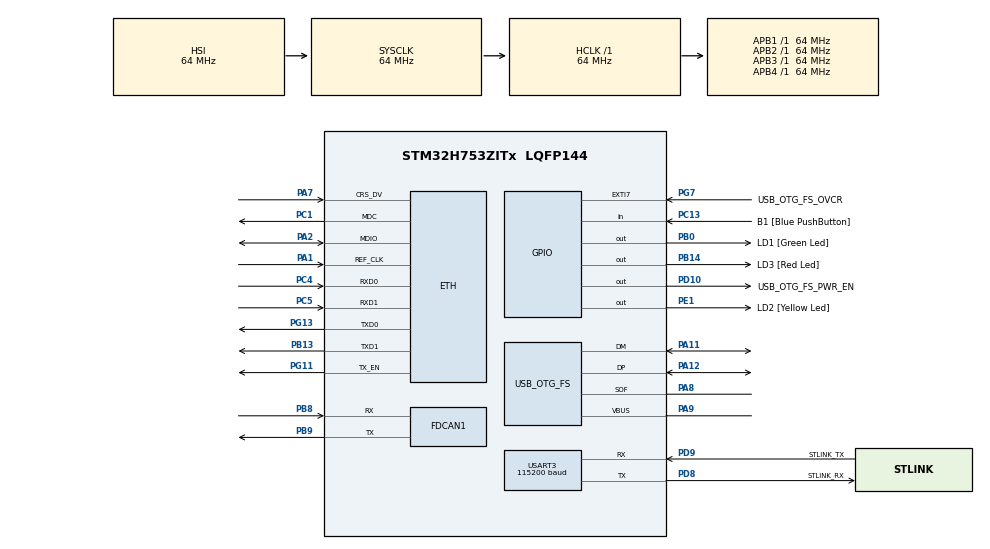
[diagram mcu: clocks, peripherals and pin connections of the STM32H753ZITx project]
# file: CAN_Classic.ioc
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CORTEX_M7.CPU_DCache=Disabled
CORTEX_M7.CPU_ICache=Disabled
CORTEX_M7.MPU_Control=__NULL
ETH.ETH_RX_DESC_CNT=4
ETH.ETH_TX_DESC_CNT=4
ETH.MACAddr=00\:80\:E1\:00\:00\:00
ETH.MediaInterface=HAL_ETH_RMII_MODE
ETH.RxBuffAddress=0x30040200
ETH.RxBuffLen=1524
ETH.RxDescAddress=0x30040000
ETH.TxDescAddress=0x30040060
FDCAN1.AutoRetransmission=ENABLE
FDCAN1.DataPrescaler=5
FDCAN1.DataSyncJumpWidth=12
FDCAN1.DataTimeSeg1=4
FDCAN1.DataTimeSeg2=5
FDCAN1.FrameFormat=FDCAN_FRAME_FD_BRS
FDCAN1.NominalPrescaler=5
FDCAN1.NominalSyncJumpWidth=13
FDCAN1.NominalTimeSeg1=13
FDCAN1.NominalTimeSeg2=6
FDCAN1.ProtocolException=DISABLE
FDCAN1.RxBuffersNbr=1
FDCAN1.RxFifo0ElmtsNbr=0
FDCAN1.StdFiltersNbr=1
FDCAN1.TxBuffersNbr=1
FDCAN1.TxFifoQueueElmtsNbr=0
Mcu.Family=STM32H7
Mcu.Name=STM32H753ZITx
Mcu.Package=LQFP144
NVIC.FDCAN1_IT0_IRQn=true\:0\:0\:false\:false\:true\:true\:true
NVIC.FDCAN1_IT1_IRQn=true\:0\:0\:false\:false\:true\:true\:true
NVIC.FDCAN_CAL_IRQn=true\:0\:0\:false\:false\:true\:true\:true
NVIC.PriorityGroup=NVIC_PRIORITYGROUP_4
PA1.Mode=RMII
PA1.Signal=ETH_REF_CLK
PA11.Mode=Device_Only
PA11.Signal=USB_OTG_FS_DM
PA12.Mode=Device_Only
PA12.Signal=USB_OTG_FS_DP
PA2.Mode=RMII
PA2.Signal=ETH_MDIO
PA7.Mode=RMII
PA7.Signal=ETH_CRS_DV
PA8.Mode=Activate_SOF_FS
PA8.Signal=USB_OTG_FS_SOF
PA9.Mode=Activate_VBUS
PA9.Signal=USB_OTG_FS_VBUS
PB0.GPIO_Label=LD1 [Green Led]
PB0.Signal=GPIO_Output
PB13.Mode=RMII
PB13.Signal=ETH_TXD1
PB14.GPIO_Label=LD3 [Red Led]
PB14.Signal=GPIO_Output
PB8.Mode=FDCAN_Activate
PB8.Signal=FDCAN1_RX
PB9.Mode=FDCAN_Activate
PB9.Signal=FDCAN1_TX
PC1.Mode=RMII
PC1.Signal=ETH_MDC
PC13.GPIO_Label=B1 [Blue PushButton]
PC13.Signal=GPIO_Input
PC14-OSC32_IN\ (OSC32_IN).Mode=LSE-External-Oscillator
PC14-OSC32_IN\ (OSC32_IN).Signal=RCC_OSC32_IN
PC15-OSC32_OUT\ (OSC32_OUT).Mode=LSE-External-Oscillator
PC15-OSC32_OUT\ (OSC32_OUT).Signal=RCC_OSC32_OUT
PC4.Mode=RMII
PC4.Signal=ETH_RXD0
PC5.Mode=RMII
PC5.Signal=ETH_RXD1
PD10.GPIO_Label=USB_OTG_FS_PWR_EN
PD10.Signal=GPIO_Output
PD8.GPIO_Label=STLINK_RX
PD8.Mode=Asynchronous
PD8.Signal=USART3_TX
PD9.GPIO_Label=STLINK_TX
PD9.Mode=Asynchronous
PD9.Signal=USART3_RX
PE1.GPIO_Label=LD2 [Yellow Led]
PE1.Signal=GPIO_Output
PG11.Mode=RMII
PG11.Signal=ETH_TX_EN
PG13.Mode=RMII
PG13.Signal=ETH_TXD0
PG7.GPIO_Label=USB_OTG_FS_OVCR
PG7.Signal=GPXTI7
PH0-OSC_IN\ (PH0).Mode=HSE-External-Clock-Source
PH0-OSC_IN\ (PH0).Signal=RCC_OSC_IN
PH1-OSC_OUT\ (PH1).Signal=RCC_OSC_OUT
ProjectManager.HeapSize=0x200
ProjectManager.StackSize=0x400
ProjectManager.TargetToolchain=STM32CubeIDE
RCC.ADCFreq_Value=16125000
RCC.APB1Freq_Value=64000000
RCC.APB2Freq_Value=64000000
RCC.APB3Freq_Value=64000000
RCC.APB4Freq_Value=64000000
RCC.CortexFreq_Value=64000000
RCC.DIVM1=1
RCC.DIVN1=18
RCC.DIVQ1=3
RCC.HCLKFreq_Value=64000000
RCC.HSE_VALUE=8000000
RCC.PLLFRACN=6144
RCC.PWR_Regulator_Voltage_Scale=PWR_REGULATOR_VOLTAGE_SCALE2
RCC.SYSCLKFreq_VALUE=64000000
RCC.USBFreq_Value=50000000
USART3.AutoBaudRateEnableParam=UART_ADVFEATURE_AUTOBAUDRATE_DISABLE
USART3.BaudRate=115200
USART3.ClockPrescaler=PRESCALER_DIV1
USART3.DMADisableonRxErrorParam=ADVFEATURE_DMA_ENABLEONRXERROR
USART3.DataInvertParam=ADVFEATURE_DATAINV_DISABLE
USART3.FIFOMode=FIFOMODE_DISABLE
USART3.MSBFirstParam=ADVFEATURE_MSBFIRST_DISABLE
USART3.Mode=MODE_TX_RX
USART3.OneBitSampling=UART_ONE_BIT_SAMPLE_DISABLE
USART3.OverSampling=UART_OVERSAMPLING_16
USART3.OverrunDisableParam=ADVFEATURE_OVERRUN_ENABLE
USART3.Parity=PARITY_NONE
USART3.RXFIFOThreshold=RXFIFO_THRESHOLD_1EIGHTHFULL
USART3.RxPinLevelInvertParam=ADVFEATURE_RXINV_DISABLE
USART3.StopBits=STOPBITS_1
USART3.SwapParam=ADVFEATURE_SWAP_DISABLE
USART3.TXFIFOThreshold=TXFIFO_THRESHOLD_1EIGHTHFULL
USART3.TxPinLevelInvertParam=ADVFEATURE_TXINV_DISABLE
USART3.VirtualMode-Asynchronous=VM_ASYNC
USART3.WordLength=WORDLENGTH_8B
USB_OTG_FS.Sof_enable=ENABLE
USB_OTG_FS.VirtualMode=Device_Only
USB_OTG_FS.battery_charging_enable=ENABLE
USB_OTG_FS.low_power_enable=DISABLE
USB_OTG_FS.lpm_enable=DISABLE
USB_OTG_FS.use_dedicated_ep1=DISABLE
USB_OTG_FS.vbus_sensing_enable=ENABLE
board=NUCLEO-H753ZI

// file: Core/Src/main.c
/* USER CODE BEGIN Header */
/**
 ******************************************************************************
 * @file           : main.c
 * @brief          : Main program body
 ******************************************************************************
 * @attention
 *
 * <h2><center>&copy; Copyright (c) 2024 STMicroelectronics.
 * All rights reserved.</center></h2>
 *
 * This software component is licensed by ST under BSD 3-Clause license,
 * the "License"; You may not use this file except in compliance with the
 * License. You may obtain a copy of the License at:
 *                        opensource.org/licenses/BSD-3-Clause
 *
 ******************************************************************************
 */
/* USER CODE END Header */
#include "main.h"
#include "string.h"

#if defined ( __ICCARM__ ) /*!< IAR Compiler */

#pragma location=0x30040000
ETH_DMADescTypeDef  DMARxDscrTab[ETH_RX_DESC_CNT]; /* Ethernet Rx DMA Descriptors */
#pragma location=0x30040060
ETH_DMADescTypeDef  DMATxDscrTab[ETH_TX_DESC_CNT]; /* Ethernet Tx DMA Descriptors */
#pragma location=0x30040200
uint8_t Rx_Buff[ETH_RX_DESC_CNT][ETH_MAX_PACKET_SIZE]; /* Ethernet Receive Buffers */

#elif defined ( __CC_ARM )  /* MDK ARM Compiler */

__attribute__((at(0x30040000))) ETH_DMADescTypeDef  DMARxDscrTab[ETH_RX_DESC_CNT]; /* Ethernet Rx DMA Descriptors */
__attribute__((at(0x30040060))) ETH_DMADescTypeDef  DMATxDscrTab[ETH_TX_DESC_CNT]; /* Ethernet Tx DMA Descriptors */
__attribute__((at(0x30040200))) uint8_t Rx_Buff[ETH_RX_DESC_CNT][ETH_MAX_PACKET_SIZE]; /* Ethernet Receive Buffer */

#elif defined ( __GNUC__ ) /* GNU Compiler */

ETH_DMADescTypeDef DMARxDscrTab[ETH_RX_DESC_CNT] __attribute__((section(".RxDecripSection"))); /* Ethernet Rx DMA Descriptors */
ETH_DMADescTypeDef DMATxDscrTab[ETH_TX_DESC_CNT] __attribute__((section(".TxDecripSection"))); /* Ethernet Tx DMA Descriptors */
uint8_t Rx_Buff[ETH_RX_DESC_CNT][ETH_MAX_PACKET_SIZE] __attribute__((section(".RxArraySection"))); /* Ethernet Receive Buffers */

#endif

ETH_TxPacketConfig TxConfig;

ETH_HandleTypeDef heth;

FDCAN_HandleTypeDef hfdcan1;

UART_HandleTypeDef huart3;

PCD_HandleTypeDef hpcd_USB_OTG_FS;

void SystemClock_Config(void);
static void MX_GPIO_Init(void);
static void MX_ETH_Init(void);
static void MX_FDCAN1_Init(void);
static void MX_USART3_UART_Init(void);
static void MX_USB_OTG_FS_PCD_Init(void);
/* USER CODE BEGIN PFP */
#define HSEM_ID_0 (0U) /* HW semaphore 0*/

#define KEY_PRESSED     0x01
#define KEY_NOT_PRESSED 0x00
/* USER CODE END PFP */

/* USER CODE BEGIN 0 */
FDCAN_RxHeaderTypeDef RxHeader;
uint8_t RxData[8];
FDCAN_TxHeaderTypeDef TxHeader;
uint8_t TxData[8] = {1,2,3,4,5,6,7,0xad};

static void FDCAN_Config(void);
/* USER CODE END 0 */

int main(void) {

	/* MCU Configuration--------------------------------------------------------*/

	/* Reset of all peripherals, Initializes the Flash interface and the Systick. */
	HAL_Init();

	/* Configure the system clock */
	SystemClock_Config();

	/* Initialize all configured peripherals */
	MX_GPIO_Init();
	MX_ETH_Init();
	MX_FDCAN1_Init();
	MX_USART3_UART_Init();
	MX_USB_OTG_FS_PCD_Init();
	/* USER CODE BEGIN 2 */
	FDCAN_Config();

	/* USER CODE END 2 */

	/* Infinite loop */
	while (1) {

		/* USER CODE BEGIN 3 */

		/* Start the Transmission process */
		if (HAL_FDCAN_EnableTxBufferRequest(&hfdcan1, FDCAN_TX_BUFFER0)
				!= HAL_OK) {
			Error_Handler();
		}
		/* polling for transmission complete on buffer index 0 */
		while (HAL_FDCAN_IsTxBufferMessagePending(&hfdcan1, FDCAN_TX_BUFFER0)
				== 1)
			;
		while (HAL_FDCAN_IsRxBufferMessageAvailable(&hfdcan1, FDCAN_TX_BUFFER0)
				== 0)
			;

		HAL_Delay(1000);
	}
	/* USER CODE END 3 */
}

void SystemClock_Config(void) {
	RCC_OscInitTypeDef RCC_OscInitStruct = { 0 };
	RCC_ClkInitTypeDef RCC_ClkInitStruct = { 0 };

	/** Supply configuration update enable
	 */
	HAL_PWREx_ConfigSupply(PWR_LDO_SUPPLY);
	/** Configure the main internal regulator output voltage
	 */
	__HAL_PWR_VOLTAGESCALING_CONFIG(PWR_REGULATOR_VOLTAGE_SCALE2);

	while (!__HAL_PWR_GET_FLAG(PWR_FLAG_VOSRDY)) {
	}
	/** Initializes the RCC Oscillators according to the specified parameters
	 * in the RCC_OscInitTypeDef structure.
	 */
	RCC_OscInitStruct.OscillatorType = RCC_OSCILLATORTYPE_HSI
			| RCC_OSCILLATORTYPE_HSE;
	RCC_OscInitStruct.HSEState = RCC_HSE_BYPASS;
	RCC_OscInitStruct.HSIState = RCC_HSI_DIV1;
	RCC_OscInitStruct.HSICalibrationValue = RCC_HSICALIBRATION_DEFAULT;
	RCC_OscInitStruct.PLL.PLLState = RCC_PLL_ON;
	RCC_OscInitStruct.PLL.PLLSource = RCC_PLLSOURCE_HSE;
	RCC_OscInitStruct.PLL.PLLM = 1;
	RCC_OscInitStruct.PLL.PLLN = 18;
	RCC_OscInitStruct.PLL.PLLP = 2;
	RCC_OscInitStruct.PLL.PLLQ = 3;
	RCC_OscInitStruct.PLL.PLLR = 2;
	RCC_OscInitStruct.PLL.PLLRGE = RCC_PLL1VCIRANGE_3;
	RCC_OscInitStruct.PLL.PLLVCOSEL = RCC_PLL1VCOMEDIUM;
	RCC_OscInitStruct.PLL.PLLFRACN = 6144;
	if (HAL_RCC_OscConfig(&RCC_OscInitStruct) != HAL_OK) {
		Error_Handler();
	}
	/** Initializes the CPU, AHB and APB buses clocks
	 */
	RCC_ClkInitStruct.ClockType = RCC_CLOCKTYPE_HCLK | RCC_CLOCKTYPE_SYSCLK
			| RCC_CLOCKTYPE_PCLK1 | RCC_CLOCKTYPE_PCLK2 | RCC_CLOCKTYPE_D3PCLK1
			| RCC_CLOCKTYPE_D1PCLK1;
	RCC_ClkInitStruct.SYSCLKSource = RCC_SYSCLKSOURCE_HSI;
	RCC_ClkInitStruct.SYSCLKDivider = RCC_SYSCLK_DIV1;
	RCC_ClkInitStruct.AHBCLKDivider = RCC_HCLK_DIV1;
	RCC_ClkInitStruct.APB3CLKDivider = RCC_APB3_DIV1;
	RCC_ClkInitStruct.APB1CLKDivider = RCC_APB1_DIV1;
	RCC_ClkInitStruct.APB2CLKDivider = RCC_APB2_DIV1;
	RCC_ClkInitStruct.APB4CLKDivider = RCC_APB4_DIV1;

	if (HAL_RCC_ClockConfig(&RCC_ClkInitStruct, FLASH_LATENCY_1) != HAL_OK) {
		Error_Handler();
	}
}

static void MX_ETH_Init(void) {

	static uint8_t MACAddr[6];

	heth.Instance = ETH;
	MACAddr[0] = 0x00;
	MACAddr[1] = 0x80;
	MACAddr[2] = 0xE1;
	MACAddr[3] = 0x00;
	MACAddr[4] = 0x00;
	MACAddr[5] = 0x00;
	heth.Init.MACAddr = &MACAddr[0];
	heth.Init.MediaInterface = HAL_ETH_RMII_MODE;
	heth.Init.TxDesc = DMATxDscrTab;
	heth.Init.RxDesc = DMARxDscrTab;
	heth.Init.RxBuffLen = 1524;

	if (HAL_ETH_Init(&heth) != HAL_OK) {
		Error_Handler();
	}

	memset(&TxConfig, 0, sizeof(ETH_TxPacketConfig));
	TxConfig.Attributes = ETH_TX_PACKETS_FEATURES_CSUM
			| ETH_TX_PACKETS_FEATURES_CRCPAD;
	TxConfig.ChecksumCtrl = ETH_CHECKSUM_IPHDR_PAYLOAD_INSERT_PHDR_CALC;
	TxConfig.CRCPadCtrl = ETH_CRC_PAD_INSERT;

}

static void MX_FDCAN1_Init(void) {

	hfdcan1.Instance = FDCAN1;
	hfdcan1.Init.FrameFormat = FDCAN_FRAME_FD_BRS;
	hfdcan1.Init.Mode = FDCAN_MODE_NORMAL;
	hfdcan1.Init.AutoRetransmission = ENABLE;
	hfdcan1.Init.TransmitPause = DISABLE;
	hfdcan1.Init.ProtocolException = DISABLE;
	hfdcan1.Init.NominalPrescaler = 5;
	hfdcan1.Init.NominalSyncJumpWidth = 13;
	hfdcan1.Init.NominalTimeSeg1 = 13;
	hfdcan1.Init.NominalTimeSeg2 = 6;
	hfdcan1.Init.DataPrescaler = 5;
	hfdcan1.Init.DataSyncJumpWidth = 12;
	hfdcan1.Init.DataTimeSeg1 = 4;
	hfdcan1.Init.DataTimeSeg2 = 5;
	hfdcan1.Init.MessageRAMOffset = 0;
	hfdcan1.Init.StdFiltersNbr = 1;
	hfdcan1.Init.ExtFiltersNbr = 0;
	hfdcan1.Init.RxFifo0ElmtsNbr = 0;
	hfdcan1.Init.RxFifo0ElmtSize = FDCAN_DATA_BYTES_8;
	hfdcan1.Init.RxFifo1ElmtsNbr = 0;
	hfdcan1.Init.RxFifo1ElmtSize = FDCAN_DATA_BYTES_8;
	hfdcan1.Init.RxBuffersNbr = 1;
	hfdcan1.Init.RxBufferSize = FDCAN_DATA_BYTES_8;
	hfdcan1.Init.TxEventsNbr = 0;
	hfdcan1.Init.TxBuffersNbr = 1;
	hfdcan1.Init.TxFifoQueueElmtsNbr = 0;
	hfdcan1.Init.TxFifoQueueMode = FDCAN_TX_FIFO_OPERATION;
	hfdcan1.Init.TxElmtSize = FDCAN_DATA_BYTES_8;
	if (HAL_FDCAN_Init(&hfdcan1) != HAL_OK) {
		Error_Handler();
	}

}

static void MX_USART3_UART_Init(void) {

	huart3.Instance = USART3;
	huart3.Init.BaudRate = 115200;
	huart3.Init.WordLength = UART_WORDLENGTH_8B;
	huart3.Init.StopBits = UART_STOPBITS_1;
	huart3.Init.Parity = UART_PARITY_NONE;
	huart3.Init.Mode = UART_MODE_TX_RX;
	huart3.Init.HwFlowCtl = UART_HWCONTROL_NONE;
	huart3.Init.OverSampling = UART_OVERSAMPLING_16;
	huart3.Init.OneBitSampling = UART_ONE_BIT_SAMPLE_DISABLE;
	huart3.Init.ClockPrescaler = UART_PRESCALER_DIV1;
	huart3.AdvancedInit.AdvFeatureInit = UART_ADVFEATURE_NO_INIT;
	if (HAL_UART_Init(&huart3) != HAL_OK) {
		Error_Handler();
	}
	if (HAL_UARTEx_SetTxFifoThreshold(&huart3, UART_TXFIFO_THRESHOLD_1_8)
			!= HAL_OK) {
		Error_Handler();
	}
	if (HAL_UARTEx_SetRxFifoThreshold(&huart3, UART_RXFIFO_THRESHOLD_1_8)
			!= HAL_OK) {
		Error_Handler();
	}
	if (HAL_UARTEx_DisableFifoMode(&huart3) != HAL_OK) {
		Error_Handler();
	}

}

static void MX_USB_OTG_FS_PCD_Init(void) {

	hpcd_USB_OTG_FS.Instance = USB_OTG_FS;
	hpcd_USB_OTG_FS.Init.dev_endpoints = 9;
	hpcd_USB_OTG_FS.Init.speed = PCD_SPEED_FULL;
	hpcd_USB_OTG_FS.Init.dma_enable = DISABLE;
	hpcd_USB_OTG_FS.Init.phy_itface = PCD_PHY_EMBEDDED;
	hpcd_USB_OTG_FS.Init.Sof_enable = ENABLE;
	hpcd_USB_OTG_FS.Init.low_power_enable = DISABLE;
	hpcd_USB_OTG_FS.Init.lpm_enable = DISABLE;
	hpcd_USB_OTG_FS.Init.battery_charging_enable = ENABLE;
	hpcd_USB_OTG_FS.Init.vbus_sensing_enable = ENABLE;
	hpcd_USB_OTG_FS.Init.use_dedicated_ep1 = DISABLE;
	if (HAL_PCD_Init(&hpcd_USB_OTG_FS) != HAL_OK) {
		Error_Handler();
	}

}

static void MX_GPIO_Init(void) {
	GPIO_InitTypeDef GPIO_InitStruct = { 0 };

	/* GPIO Ports Clock Enable */
	__HAL_RCC_GPIOC_CLK_ENABLE();
	__HAL_RCC_GPIOH_CLK_ENABLE();
	__HAL_RCC_GPIOA_CLK_ENABLE();
	__HAL_RCC_GPIOB_CLK_ENABLE();
	__HAL_RCC_GPIOD_CLK_ENABLE();
	__HAL_RCC_GPIOG_CLK_ENABLE();
	__HAL_RCC_GPIOE_CLK_ENABLE();

	/*Configure GPIO pin Output Level */
	HAL_GPIO_WritePin(GPIOB, LD1_Pin | LD3_Pin, GPIO_PIN_RESET);

	/*Configure GPIO pin Output Level */
	HAL_GPIO_WritePin(USB_OTG_FS_PWR_EN_GPIO_Port, USB_OTG_FS_PWR_EN_Pin,
			GPIO_PIN_RESET);

	/*Configure GPIO pin Output Level */
	HAL_GPIO_WritePin(LD2_GPIO_Port, LD2_Pin, GPIO_PIN_RESET);

	/*Configure GPIO pin : B1_Pin */
	GPIO_InitStruct.Pin = B1_Pin;
	GPIO_InitStruct.Mode = GPIO_MODE_INPUT;
	GPIO_InitStruct.Pull = GPIO_NOPULL;
	HAL_GPIO_Init(B1_GPIO_Port, &GPIO_InitStruct);

	/*Configure GPIO pins : LD1_Pin LD3_Pin */
	GPIO_InitStruct.Pin = LD1_Pin | LD3_Pin;
	GPIO_InitStruct.Mode = GPIO_MODE_OUTPUT_PP;
	GPIO_InitStruct.Pull = GPIO_NOPULL;
	GPIO_InitStruct.Speed = GPIO_SPEED_FREQ_LOW;
	HAL_GPIO_Init(GPIOB, &GPIO_InitStruct);

	/*Configure GPIO pin : USB_OTG_FS_PWR_EN_Pin */
	GPIO_InitStruct.Pin = USB_OTG_FS_PWR_EN_Pin;
	GPIO_InitStruct.Mode = GPIO_MODE_OUTPUT_PP;
	GPIO_InitStruct.Pull = GPIO_NOPULL;
	GPIO_InitStruct.Speed = GPIO_SPEED_FREQ_LOW;
	HAL_GPIO_Init(USB_OTG_FS_PWR_EN_GPIO_Port, &GPIO_InitStruct);

	/*Configure GPIO pin : USB_OTG_FS_OVCR_Pin */
	GPIO_InitStruct.Pin = USB_OTG_FS_OVCR_Pin;
	GPIO_InitStruct.Mode = GPIO_MODE_IT_RISING;
	GPIO_InitStruct.Pull = GPIO_NOPULL;
	HAL_GPIO_Init(USB_OTG_FS_OVCR_GPIO_Port, &GPIO_InitStruct);

	/*Configure GPIO pin : LD2_Pin */
	GPIO_InitStruct.Pin = LD2_Pin;
	GPIO_InitStruct.Mode = GPIO_MODE_OUTPUT_PP;
	GPIO_InitStruct.Pull = GPIO_NOPULL;
	GPIO_InitStruct.Speed = GPIO_SPEED_FREQ_LOW;
	HAL_GPIO_Init(LD2_GPIO_Port, &GPIO_InitStruct);

}

/* USER CODE BEGIN 4 */
/**
 * @brief  Configures the FDCAN.
 * @param  None
 * @retval None
 */
static void FDCAN_Config(void) {
	FDCAN_FilterTypeDef sFilterConfig;

	/* Configure Rx filter */
	sFilterConfig.IdType = FDCAN_STANDARD_ID;
	sFilterConfig.FilterIndex = 0;
	//sFilterConfig.FilterType = FDCAN_FILTER_MASK;
	sFilterConfig.FilterConfig = FDCAN_FILTER_TO_RXBUFFER;
	sFilterConfig.FilterID1 = 0x321;
	sFilterConfig.RxBufferIndex = 0;
	//sFilterConfig.FilterID2 = 0x7FF;
	if (HAL_FDCAN_ConfigFilter(&hfdcan1, &sFilterConfig) != HAL_OK) {
		/* Filter configuration Error */
		Error_Handler();
	}
	/* Prepare Tx Header */
	TxHeader.Identifier = 0x1;
	TxHeader.IdType = FDCAN_STANDARD_ID;
	TxHeader.TxFrameType = FDCAN_DATA_FRAME;
	TxHeader.DataLength = FDCAN_DLC_BYTES_8;
	TxHeader.ErrorStateIndicator = FDCAN_ESI_ACTIVE;
	TxHeader.BitRateSwitch = FDCAN_BRS_ON;
	TxHeader.FDFormat = FDCAN_FD_CAN;
	TxHeader.TxEventFifoControl = FDCAN_NO_TX_EVENTS;
	TxHeader.MessageMarker = 0; //ignore because FDCAN_NO_TX_EVENTS
	if (HAL_FDCAN_AddMessageToTxBuffer(&hfdcan1, &TxHeader, TxData,
	FDCAN_TX_BUFFER0) != HAL_OK) {
		Error_Handler();
	}
	/* Start the FDCAN module */
	if (HAL_FDCAN_Start(&hfdcan1) != HAL_OK) {
		/* Start Error */
		Error_Handler();
	}
}

/**
 * @brief  Rx FIFO 0 callback.
 * @param  hfdcan: pointer to an FDCAN_HandleTypeDef structure that contains
 *         the configuration information for the specified FDCAN.
 * @param  RxFifo0ITs: indicates which Rx FIFO 0 interrupts are signalled.
 *                     This parameter can be any combination of @arg FDCAN_Rx_Fifo0_Interrupts.
 * @retval None
 */
void HAL_FDCAN_RxFifo0Callback(FDCAN_HandleTypeDef *hfdcan, uint32_t RxFifo0ITs) {
	if ((RxFifo0ITs & FDCAN_IT_RX_FIFO0_NEW_MESSAGE) != RESET) {
		/* Retreive Rx messages from RX FIFO0 */
		if (HAL_FDCAN_GetRxMessage(hfdcan, FDCAN_RX_FIFO0, &RxHeader, RxData)
				!= HAL_OK) {
			/* Reception Error */
			Error_Handler();
		}

		/* Display LEDx */
		if ((RxHeader.Identifier == 0x321)
				&& (RxHeader.IdType == FDCAN_STANDARD_ID)
				&& (RxHeader.DataLength == FDCAN_DLC_BYTES_2)) {
			//LED_Display(RxData[0]);
		}

		if (HAL_FDCAN_ActivateNotification(hfdcan,
		FDCAN_IT_RX_FIFO0_NEW_MESSAGE, 0) != HAL_OK) {
			/* Notification Error */
			Error_Handler();
		}
	}
}
/* USER CODE END 4 */

void Error_Handler(void) {
	__disable_irq();
	while (1) {
	}
}

/************************ (C) COPYRIGHT STMicroelectronics *****END OF FILE****/
